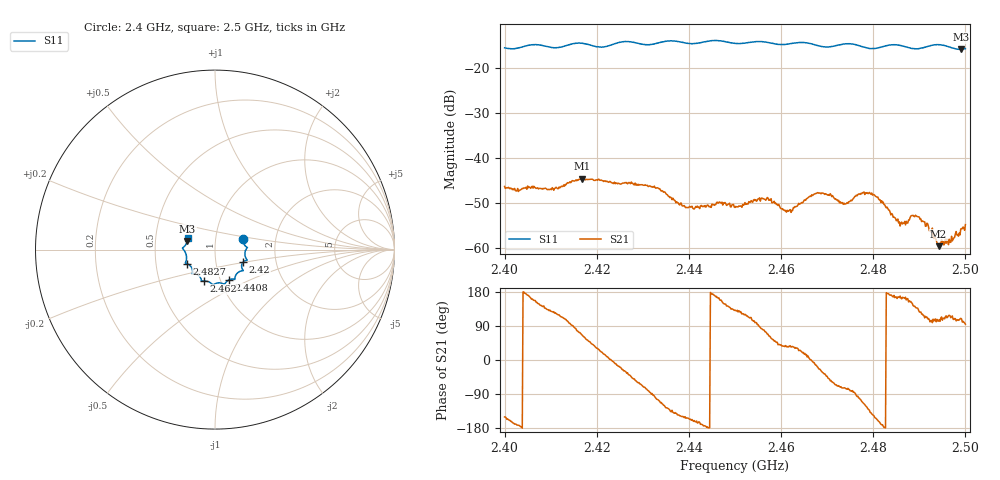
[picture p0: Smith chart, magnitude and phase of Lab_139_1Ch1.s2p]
# Hz S RI R 50
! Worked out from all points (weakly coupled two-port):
!   601 points, 2.4 GHz to 2.5 GHz, reference 50 ohm
!   highest |S21| = -44.66 dB at 2.4168 GHz (marker M1); lowest = -59.6 dB at 2.4942 GHz (marker M2)
!   lowest |S11| = -15.9 dB at 2.499 GHz (marker M3), VSWR 1.38, Z = 36.6 + j3.6 ohm
!   |S11| at or under -10 dB: start of sweep to end of sweep
!   S12 and S22 are empty: the file has one direction only
!   S11 on the Smith chart (normalised r, x): 2.4 GHz: 1.36, +0.17; 2.42 GHz: 1.36, -0.19; 2.4408 GHz: 1.10, -0.38; 2.462 GHz: 0.83, -0.30; 2.4827 GHz: 0.72, -0.12; 2.5 GHz: 0.73, +0.09
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2.4e9  0.1554 0.0616  -0.00417 -0.00239  0 0  0 0
2.409667e9  0.1706 -0.00282  -0.00285 0.00339  0 0  0 0
2.416667e9  0.1787 -0.0589  0.00218 0.00532  0 0  0 0
2.416833e9  0.1785 -0.0592  0.0024 0.00534  0 0  0 0
2.42e9  0.1574 -0.0693  0.00488 0.00293  0 0  0 0
2.433333e9  0.1118 -0.1526  -0.00121 -0.00444  0 0  0 0
2.440833e9  0.0781 -0.1688  -0.00259 -0.000955  0 0  0 0
2.446667e9  0.0504 -0.194  -0.00302 0.00115  0 0  0 0
2.45e9  0.0273 -0.1853  -0.00186 0.0021  0 0  0 0
2.457333e9  -0.0194 -0.1899  0.00151 0.00302  0 0  0 0
2.462e9  -0.062 -0.1753  0.0021 0.00162  0 0  0 0
2.466667e9  -0.0763 -0.1684  0.00389 -0.000123  0 0  0 0
2.470333e9  -0.0988 -0.1396  0.00256 -0.00294  0 0  0 0
2.474e9  -0.1258 -0.1363  0.000783 -0.00298  0 0  0 0
2.479167e9  -0.1294 -0.1015  -0.0028 -0.00304  0 0  0 0
2.482667e9  -0.1577 -0.0776  -0.00287 -4.18e-05  0 0  0 0
2.483333e9  -0.1616 -0.0764  -0.00262 0.000235  0 0  0 0
2.486e9  -0.1632 -0.0689  -0.00181 0.000536  0 0  0 0
2.489667e9  -0.1608 -0.0264  -0.00161 0.00152  0 0  0 0
2.494167e9  -0.181 0.00816  -0.000226 0.00102  0 0  0 0
2.499e9  -0.1534 0.048  -0.000552 0.00152  0 0  0 0
2.5e9  -0.1513 0.0627  -0.000141 0.0018  0 0  0 0
